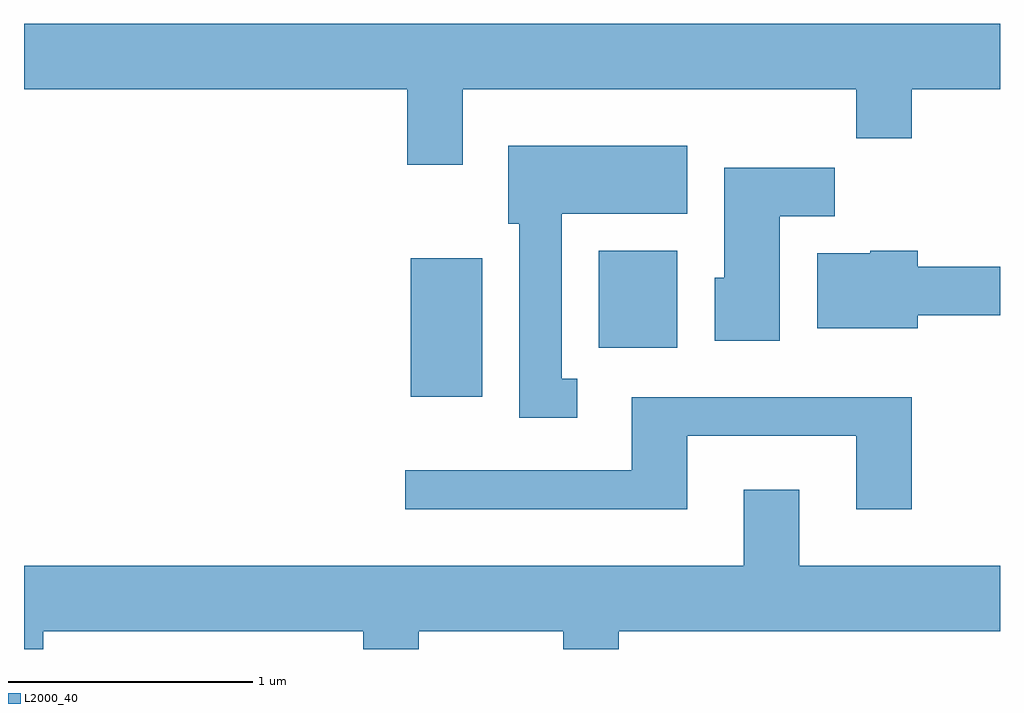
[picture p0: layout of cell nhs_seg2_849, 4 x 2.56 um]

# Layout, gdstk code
import gdstk
lib = gdstk.Library(unit=1e-6, precision=1e-09)
def R(c, l, rs):  # rectangles x0, y0, x1, y1
    for r in rs: c.add(gdstk.rectangle(r[:2], r[2:], *l))
def P(c, l, *ps):  # polygons
    for p in ps: c.add(gdstk.Polygon(p, *l))
L2000_40 = (2000, 40)

nhs_seg2_849 = lib.new_cell('nhs_seg2_849')
R(nhs_seg2_849, L2000_40, [(211.196,1044.836,211.489,1045.404), (211.966,1045.036,212.289,1045.434)])
P(nhs_seg2_849, L2000_40, [(211.409,1046.096),(213.021,1046.096),(213.021,1045.896),(213.249,1045.896),(213.249,1046.096),(213.611,1046.096),(213.611,1046.364),(209.611,1046.364),(209.611,1046.096),(211.181,1046.096),(211.181,1045.786),(211.409,1045.786)],
  [(211.878,1044.909),(211.814,1044.909),(211.814,1045.586),(212.329,1045.586),(212.329,1045.864),(211.596,1045.864),(211.596,1045.546),(211.641,1045.546),(211.641,1044.751),(211.878,1044.751)],
  [(212.709,1045.576),(212.934,1045.576),(212.934,1045.774),(212.481,1045.774),(212.481,1045.324),(212.441,1045.324),(212.441,1045.066),(212.709,1045.066)],
  [(213.274,1045.171),(213.611,1045.171),(213.611,1045.369),(213.274,1045.369),(213.274,1045.434),(213.08,1045.434),(213.08,1045.424),(212.861,1045.424),(212.861,1045.116),(213.274,1045.116)],
  [(212.329,1044.676),(213.021,1044.676),(213.021,1044.376),(213.249,1044.376),(213.249,1044.834),(212.101,1044.834),(212.101,1044.534),(211.173,1044.534),(211.173,1044.376),(212.329,1044.376)],
  [(209.689,1043.876),(211.001,1043.876),(211.001,1043.802),(211.229,1043.802),(211.229,1043.876),(211.821,1043.876),(211.821,1043.802),(212.049,1043.802),(212.049,1043.876),(213.611,1043.876),(213.611,1044.144),(212.789,1044.144),(212.789,1044.454),(212.561,1044.454),(212.561,1044.144),(209.611,1044.144),(209.611,1043.802),(209.689,1043.802)])

lib.write_gds('nhs_seg2_849.gds')
